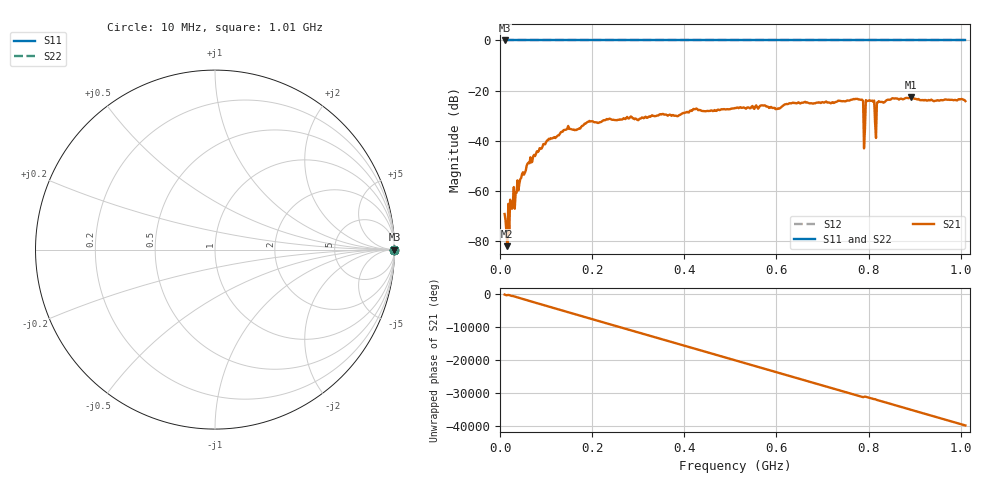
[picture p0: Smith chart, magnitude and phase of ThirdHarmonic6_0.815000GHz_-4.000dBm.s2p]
! 8/16/2025 3:06:38 AM
! C:\ANRITSUVNA\TEMP\TEMP.S2P
! CHANNEL.1
! TR.MEASUREMENT
! RAW.DATA
! RF.CORRECTION.OFF
! AVERAGING.OFF
! IF.BANDWIDTH: 5KHZ
! SWEEPTYPE:  FREQ.SWEEP(Linear)
! Reference Plane Port Info
! PORT:  PORT1  PORT2
! DISTANCE:  0  m  0  m
! TIME:  0  s  0  s
! PHASE.OFFSET:  0  deg.  0  deg.
! LOSS:  0  dB  0  dB
! REF.LOSS:  0  dB  0  dB
! REF.FREQ:  0  Hz  0  Hz
! Power Info
! POWER:  -20  dBm  -20  dBm
! EFF.POWER:  -20  dBm  -20  dBm
! SOURCE.ATTEN:  0  dB  0  dB
! TEST.ATTEN:  0  dB  0  dB
# GHZ S RI R 50.0
! FREQ.GHZ  S11RE  S11IM  S21RE  S21IM  S12RE  S12IM  S22RE  S22IM
!; PortSelection: Port_12
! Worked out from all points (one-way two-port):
!   501 points, 10 MHz to 1.01 GHz, reference 50 ohm
!   highest |S21| = -22.57 dB at 892 MHz (marker M1); lowest = -82.1 dB at 16 MHz (marker M2)
!   lowest |S11| = 0.0 dB at 10 MHz (marker M3)
!   |S11| at or under -10 dB: nowhere
!   |S22| runs from 0.0 to 0.0 dB; largest |S21 - S12| = 1.1
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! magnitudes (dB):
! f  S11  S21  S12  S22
! 10 MHz  0.0  -69.2  0.0  0.0
! 16 MHz  0.0  -82.1  0.0  0.0
! 24 MHz  0.0  -66.4  0.0  0.0
! 26 MHz  0.0  -67.2  0.0  0.0
! 62 MHz  0.0  -48.8  0.0  0.0
! 106 MHz  0.0  -39.2  0.0  0.0
! 178 MHz  0.0  -34.1  0.0  0.0
! 344 MHz  0.0  -29.9  0.0  0.0
! 510 MHz  0.0  -26.9  0.0  0.0
! 678 MHz  0.0  -25.2  0.0  0.0
! 782 MHz  0.0  -23.7  0.0  0.0
! 784 MHz  0.0  -23.6  0.0  0.0
! 788 MHz  0.0  -24.2  0.0  0.0
! 794 MHz  0.0  -23.8  0.0  0.0
! 798 MHz  0.0  -24.2  0.0  0.0
! 808 MHz  0.0  -24.0  0.0  0.0
! 812 MHz  0.0  -24.0  0.0  0.0
! 818 MHz  0.0  -24.8  0.0  0.0
! 822 MHz  0.0  -24.2  0.0  0.0
! 844 MHz  0.0  -23.6  0.0  0.0
! 892 MHz  0.0  -22.6  0.0  0.0
! 1.01 GHz  0.0  -24.2  0.0  0.0
